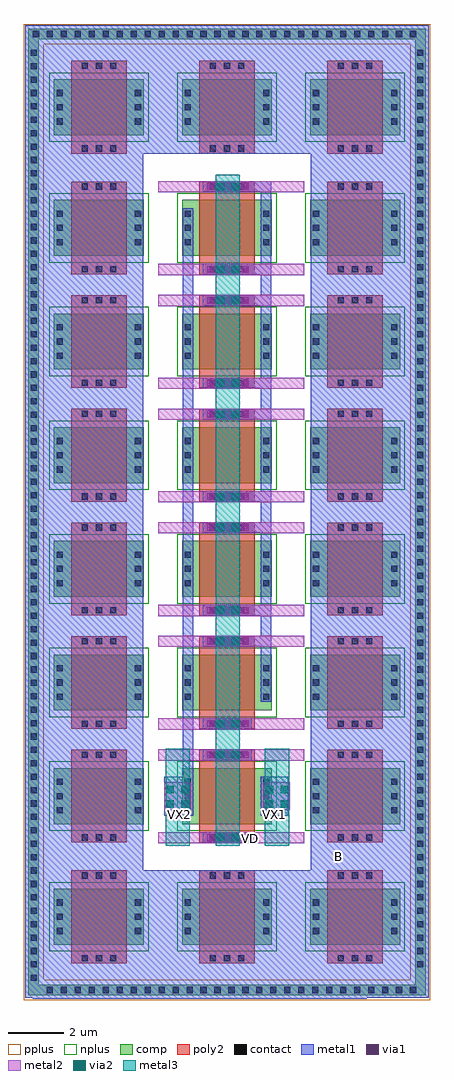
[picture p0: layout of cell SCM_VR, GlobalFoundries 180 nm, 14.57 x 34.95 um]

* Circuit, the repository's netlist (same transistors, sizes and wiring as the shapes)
** sch_path: /home/gmaranhao/Desktop/Bracolin/Voltage_Reference/symbols_vr/SCM_VR.sch
.subckt SCM_VR VD VX1 VX2 B
*.PININFO VD:B VX1:B VX2:B B:B
MN1[1] VD VD VX2 B nfet_03v3 L=2u W=2u nf=1 m=1
MN1[2] VD VD VX2 B nfet_03v3 L=2u W=2u nf=1 m=1
MN1[3] VD VD VX2 B nfet_03v3 L=2u W=2u nf=1 m=1
MN1[4] VD VD VX2 B nfet_03v3 L=2u W=2u nf=1 m=1
MN1[5] VD VD VX2 B nfet_03v3 L=2u W=2u nf=1 m=1
MN2 VX2 VD VX1 B nfet_03v3 L=2u W=2u nf=1 m=1
MN2[1] B B B B nfet_03v3 L=2u W=2u nf=1 m=1
MN2[2] B B B B nfet_03v3 L=2u W=2u nf=1 m=1
MN2[3] B B B B nfet_03v3 L=2u W=2u nf=1 m=1
MN2[4] B B B B nfet_03v3 L=2u W=2u nf=1 m=1
MN2[5] B B B B nfet_03v3 L=2u W=2u nf=1 m=1
MN2[6] B B B B nfet_03v3 L=2u W=2u nf=1 m=1
MN2[7] B B B B nfet_03v3 L=2u W=2u nf=1 m=1
MN2[8] B B B B nfet_03v3 L=2u W=2u nf=1 m=1
MN2[9] B B B B nfet_03v3 L=2u W=2u nf=1 m=1
MN2[10] B B B B nfet_03v3 L=2u W=2u nf=1 m=1
MN2[11] B B B B nfet_03v3 L=2u W=2u nf=1 m=1
MN2[12] B B B B nfet_03v3 L=2u W=2u nf=1 m=1
MN2[13] B B B B nfet_03v3 L=2u W=2u nf=1 m=1
MN2[14] B B B B nfet_03v3 L=2u W=2u nf=1 m=1
MN2[15] B B B B nfet_03v3 L=2u W=2u nf=1 m=1
MN2[16] B B B B nfet_03v3 L=2u W=2u nf=1 m=1
MN2[17] B B B B nfet_03v3 L=2u W=2u nf=1 m=1
MN2[18] B B B B nfet_03v3 L=2u W=2u nf=1 m=1
.ends
.end

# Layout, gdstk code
import gdstk
lib = gdstk.Library(unit=1e-6, precision=1e-09)
def R(c, l, rs):  # rectangles x0, y0, x1, y1
    for r in rs: c.add(gdstk.rectangle(r[:2], r[2:], *l))
def A(c, l, x, y, w, h, nx, ny, dx, dy):  # array of equal rectangles
    R(c, l, [(x+i*dx, y+j*dy, x+i*dx+w, y+j*dy+h) for i in range(nx) for j in range(ny)])
comp = (22, 0)
poly2 = (30, 0)
pplus = (31, 0)
nplus = (32, 0)
contact = (33, 0)
metal1 = (34, 0)
via1 = (35, 0)
metal2 = (36, 0)
via2 = (38, 0)
metal3 = (42, 0)

nfet = lib.new_cell('nfet')
R(nfet, comp, [(-0.42,0,0,2), (0,0,2.38,2), (2.38,0,2.8,2)])
R(nfet, poly2, [(0.19,-0.66,2.19,-0.3), (0.19,-0.3,2.19,2.3), (0.19,2.3,2.19,2.66)])
R(nfet, nplus, [(-0.59,-0.24,2.97,2.24)])
A(nfet, contact, 0.57, -0.59, 0.22, 0.22, 3, 2, 0.51, 2.96)
A(nfet, contact, -0.32, 0.38, 0.22, 0.22, 1, 3, 0, 0.51)
A(nfet, contact, 2.48, 0.38, 0.22, 0.22, 1, 3, 0, 0.51)
R(nfet, metal1, [(0.49,-0.67,1.89,-0.29), (-0.4,0.3,-0.02,1.7), (2.4,0.3,2.78,1.7), (0.49,2.29,1.89,2.67)])

scm_vr = lib.new_cell('SCM_VR')
R(scm_vr, comp, [(-5.895,-6.225,8.05,-5.845), (7.955,-6.225,8.335,28.38), (-5.895,-5.94,-5.515,28.225), (-5.895,28,8.05,28.38)])
R(scm_vr, pplus, [(-6.065,-6.395,-5.345,28.29), (-6.065,-6.395,8.505,-5.675), (7.785,-6.22,8.505,28.55), (-6.065,27.83,8.305,28.55)])
A(scm_vr, contact, -5.23, -6.145, 0.22, 0.22, 27, 1, 0.5, 0)
A(scm_vr, contact, -5.815, -5.71, 0.22, 0.22, 1, 70, 0, 0.48)
A(scm_vr, contact, 8.035, -5.23, 0.22, 0.22, 1, 69, 0, 0.48)
A(scm_vr, contact, -5.73, 28.08, 0.22, 0.22, 28, 1, 0.5, 0)
R(scm_vr, metal1, [(-5.735,-6.345,6.23,-1.745), (-5.995,-6.32,-1.775,28.5), (4.215,-6.32,8.435,28.5), (0.345,-0.765,2.11,-0.385), (-1.03,0.205,-0.115,1.605), (2.49,0.205,3.405,1.605), (-0.37,0.81,0.01,21.45), (0.345,2.195,2.11,2.575), (0.345,3.305,2.11,3.685), (2.43,4.915,2.81,22.92), (0.345,6.265,2.635,6.645), (0.345,7.37,2.63,7.75), (0.345,10.33,2.585,10.71), (0.345,11.44,2.57,11.82), (0.345,14.4,2.52,14.78), (0.345,15.51,2.56,15.89), (0.345,18.47,2.565,18.85), (0.345,19.58,2.555,19.96), (0.345,22.54,2.57,22.92), (-5.735,23.9,6.23,28.5)])
R(scm_vr, via1, [(0.5,-0.705,0.76,-0.445), (0.5,-0.705,0.76,-0.445), (0.5,-0.705,0.76,-0.445), (0.5,-0.705,0.76,-0.445), (0.5,-0.705,0.76,-0.445), (0.5,-0.705,0.76,-0.445), (0.5,-0.705,0.76,-0.445), (0.5,-0.705,0.76,-0.445), (1.12,-0.705,1.38,-0.445), (1.12,-0.705,1.38,-0.445), (1.12,-0.705,1.38,-0.445), (1.12,-0.705,1.38,-0.445), (1.12,-0.705,1.38,-0.445), (1.12,-0.705,1.38,-0.445), (1.12,-0.705,1.38,-0.445), (1.12,-0.705,1.38,-0.445), (1.74,-0.705,2,-0.445), (1.74,-0.705,2,-0.445), (1.74,-0.705,2,-0.445), (1.74,-0.705,2,-0.445), (1.74,-0.705,2,-0.445), (1.74,-0.705,2,-0.445), (1.74,-0.705,2,-0.445), (1.74,-0.705,2,-0.445), (0.5,2.255,0.76,2.515), (0.5,2.255,0.76,2.515), (0.5,2.255,0.76,2.515), (0.5,2.255,0.76,2.515), (0.5,2.255,0.76,2.515), (0.5,2.255,0.76,2.515), (0.5,2.255,0.76,2.515), (0.5,2.255,0.76,2.515), (1.12,2.255,1.38,2.515), (1.12,2.255,1.38,2.515), (1.12,2.255,1.38,2.515), (1.12,2.255,1.38,2.515), (1.12,2.255,1.38,2.515), (1.12,2.255,1.38,2.515), (1.12,2.255,1.38,2.515), (1.12,2.255,1.38,2.515), (1.74,2.255,2,2.515), (1.74,2.255,2,2.515), (1.74,2.255,2,2.515), (1.74,2.255,2,2.515), (1.74,2.255,2,2.515), (1.74,2.255,2,2.515), (1.74,2.255,2,2.515), (1.74,2.255,2,2.515), (0.5,3.365,0.76,3.625), (0.5,3.365,0.76,3.625), (0.5,3.365,0.76,3.625), (0.5,3.365,0.76,3.625), (0.5,3.365,0.76,3.625), (0.5,3.365,0.76,3.625), (0.5,3.365,0.76,3.625), (0.5,3.365,0.76,3.625), (1.12,3.365,1.38,3.625), (1.12,3.365,1.38,3.625), (1.12,3.365,1.38,3.625), (1.12,3.365,1.38,3.625), (1.12,3.365,1.38,3.625), (1.12,3.365,1.38,3.625), (1.12,3.365,1.38,3.625), (1.12,3.365,1.38,3.625), (1.74,3.365,2,3.625), (1.74,3.365,2,3.625), (1.74,3.365,2,3.625), (1.74,3.365,2,3.625), (1.74,3.365,2,3.625), (1.74,3.365,2,3.625), (1.74,3.365,2,3.625), (1.74,3.365,2,3.625), (0.5,6.325,0.76,6.585), (0.5,6.325,0.76,6.585), (0.5,6.325,0.76,6.585), (0.5,6.325,0.76,6.585), (0.5,6.325,0.76,6.585), (0.5,6.325,0.76,6.585), (0.5,6.325,0.76,6.585), (0.5,6.325,0.76,6.585), (1.12,6.325,1.38,6.585), (1.12,6.325,1.38,6.585), (1.12,6.325,1.38,6.585), (1.12,6.325,1.38,6.585), (1.12,6.325,1.38,6.585), (1.12,6.325,1.38,6.585), (1.12,6.325,1.38,6.585), (1.12,6.325,1.38,6.585), (1.74,6.325,2,6.585), (1.74,6.325,2,6.585), (1.74,6.325,2,6.585), (1.74,6.325,2,6.585), (1.74,6.325,2,6.585), (1.74,6.325,2,6.585), (1.74,6.325,2,6.585), (1.74,6.325,2,6.585), (0.5,7.43,0.76,7.69), (0.5,7.43,0.76,7.69), (0.5,7.43,0.76,7.69), (0.5,7.43,0.76,7.69), (0.5,7.43,0.76,7.69), (0.5,7.43,0.76,7.69), (0.5,7.43,0.76,7.69), (0.5,7.43,0.76,7.69), (1.12,7.43,1.38,7.69), (1.12,7.43,1.38,7.69), (1.12,7.43,1.38,7.69), (1.12,7.43,1.38,7.69), (1.12,7.43,1.38,7.69), (1.12,7.43,1.38,7.69), (1.12,7.43,1.38,7.69), (1.12,7.43,1.38,7.69), (1.74,7.43,2,7.69), (1.74,7.43,2,7.69), (1.74,7.43,2,7.69), (1.74,7.43,2,7.69), (1.74,7.43,2,7.69), (1.74,7.43,2,7.69), (1.74,7.43,2,7.69), (1.74,7.43,2,7.69), (0.5,10.39,0.76,10.65), (0.5,10.39,0.76,10.65), (0.5,10.39,0.76,10.65), (0.5,10.39,0.76,10.65), (0.5,10.39,0.76,10.65), (0.5,10.39,0.76,10.65), (0.5,10.39,0.76,10.65), (0.5,10.39,0.76,10.65), (1.12,10.39,1.38,10.65), (1.12,10.39,1.38,10.65), (1.12,10.39,1.38,10.65), (1.12,10.39,1.38,10.65), (1.12,10.39,1.38,10.65), (1.12,10.39,1.38,10.65), (1.12,10.39,1.38,10.65), (1.12,10.39,1.38,10.65), (1.74,10.39,2,10.65), (1.74,10.39,2,10.65), (1.74,10.39,2,10.65), (1.74,10.39,2,10.65), (1.74,10.39,2,10.65), (1.74,10.39,2,10.65), (1.74,10.39,2,10.65), (1.74,10.39,2,10.65), (0.5,11.5,0.76,11.76), (0.5,11.5,0.76,11.76), (0.5,11.5,0.76,11.76), (0.5,11.5,0.76,11.76), (0.5,11.5,0.76,11.76), (0.5,11.5,0.76,11.76), (0.5,11.5,0.76,11.76), (0.5,11.5,0.76,11.76), (1.12,11.5,1.38,11.76), (1.12,11.5,1.38,11.76), (1.12,11.5,1.38,11.76), (1.12,11.5,1.38,11.76), (1.12,11.5,1.38,11.76), (1.12,11.5,1.38,11.76), (1.12,11.5,1.38,11.76), (1.12,11.5,1.38,11.76), (1.74,11.5,2,11.76), (1.74,11.5,2,11.76), (1.74,11.5,2,11.76), (1.74,11.5,2,11.76), (1.74,11.5,2,11.76), (1.74,11.5,2,11.76), (1.74,11.5,2,11.76), (1.74,11.5,2,11.76), (0.5,14.46,0.76,14.72), (0.5,14.46,0.76,14.72), (0.5,14.46,0.76,14.72), (0.5,14.46,0.76,14.72), (0.5,14.46,0.76,14.72), (0.5,14.46,0.76,14.72), (0.5,14.46,0.76,14.72), (0.5,14.46,0.76,14.72), (1.12,14.46,1.38,14.72), (1.12,14.46,1.38,14.72), (1.12,14.46,1.38,14.72), (1.12,14.46,1.38,14.72), (1.12,14.46,1.38,14.72), (1.12,14.46,1.38,14.72), (1.12,14.46,1.38,14.72), (1.12,14.46,1.38,14.72), (1.74,14.46,2,14.72), (1.74,14.46,2,14.72), (1.74,14.46,2,14.72), (1.74,14.46,2,14.72), (1.74,14.46,2,14.72), (1.74,14.46,2,14.72), (1.74,14.46,2,14.72), (1.74,14.46,2,14.72), (0.5,15.57,0.76,15.83), (0.5,15.57,0.76,15.83), (0.5,15.57,0.76,15.83), (0.5,15.57,0.76,15.83), (0.5,15.57,0.76,15.83), (0.5,15.57,0.76,15.83), (0.5,15.57,0.76,15.83), (0.5,15.57,0.76,15.83), (1.12,15.57,1.38,15.83), (1.12,15.57,1.38,15.83), (1.12,15.57,1.38,15.83), (1.12,15.57,1.38,15.83), (1.12,15.57,1.38,15.83), (1.12,15.57,1.38,15.83), (1.12,15.57,1.38,15.83), (1.12,15.57,1.38,15.83), (1.74,15.57,2,15.83), (1.74,15.57,2,15.83), (1.74,15.57,2,15.83), (1.74,15.57,2,15.83), (1.74,15.57,2,15.83), (1.74,15.57,2,15.83), (1.74,15.57,2,15.83), (1.74,15.57,2,15.83), (0.5,18.53,0.76,18.79), (0.5,18.53,0.76,18.79), (0.5,18.53,0.76,18.79), (0.5,18.53,0.76,18.79), (0.5,18.53,0.76,18.79), (0.5,18.53,0.76,18.79), (0.5,18.53,0.76,18.79), (0.5,18.53,0.76,18.79), (1.12,18.53,1.38,18.79), (1.12,18.53,1.38,18.79), (1.12,18.53,1.38,18.79), (1.12,18.53,1.38,18.79), (1.12,18.53,1.38,18.79), (1.12,18.53,1.38,18.79), (1.12,18.53,1.38,18.79), (1.12,18.53,1.38,18.79), (1.74,18.53,2,18.79), (1.74,18.53,2,18.79), (1.74,18.53,2,18.79), (1.74,18.53,2,18.79), (1.74,18.53,2,18.79), (1.74,18.53,2,18.79), (1.74,18.53,2,18.79), (1.74,18.53,2,18.79), (0.5,19.64,0.76,19.9), (0.5,19.64,0.76,19.9), (0.5,19.64,0.76,19.9), (0.5,19.64,0.76,19.9), (0.5,19.64,0.76,19.9), (0.5,19.64,0.76,19.9), (0.5,19.64,0.76,19.9), (0.5,19.64,0.76,19.9), (1.12,19.64,1.38,19.9), (1.12,19.64,1.38,19.9), (1.12,19.64,1.38,19.9), (1.12,19.64,1.38,19.9), (1.12,19.64,1.38,19.9), (1.12,19.64,1.38,19.9), (1.12,19.64,1.38,19.9), (1.12,19.64,1.38,19.9), (1.74,19.64,2,19.9), (1.74,19.64,2,19.9), (1.74,19.64,2,19.9), (1.74,19.64,2,19.9), (1.74,19.64,2,19.9), (1.74,19.64,2,19.9), (1.74,19.64,2,19.9), (1.74,19.64,2,19.9), (0.5,22.6,0.76,22.86), (0.5,22.6,0.76,22.86), (0.5,22.6,0.76,22.86), (0.5,22.6,0.76,22.86), (0.5,22.6,0.76,22.86), (0.5,22.6,0.76,22.86), (0.5,22.6,0.76,22.86), (0.5,22.6,0.76,22.86), (1.12,22.6,1.38,22.86), (1.12,22.6,1.38,22.86), (1.12,22.6,1.38,22.86), (1.12,22.6,1.38,22.86), (1.12,22.6,1.38,22.86), (1.12,22.6,1.38,22.86), (1.12,22.6,1.38,22.86), (1.12,22.6,1.38,22.86), (1.74,22.6,2,22.86), (1.74,22.6,2,22.86), (1.74,22.6,2,22.86), (1.74,22.6,2,22.86), (1.74,22.6,2,22.86), (1.74,22.6,2,22.86), (1.74,22.6,2,22.86), (1.74,22.6,2,22.86)])
R(scm_vr, metal2, [(-1.235,-0.785,3.98,-0.385), (-1.03,0.405,-0.085,1.395), (2.525,0.405,3.47,1.395), (-1.235,2.175,3.98,2.575), (-1.235,3.285,3.98,3.685), (-1.235,6.245,3.98,6.645), (-1.235,7.35,3.98,7.75), (-1.235,10.31,3.98,10.71), (-1.235,11.42,3.98,11.82), (-1.235,14.38,3.98,14.78), (-1.235,15.49,3.98,15.89), (-1.235,18.45,3.98,18.85), (-1.235,19.56,3.98,19.96), (-1.235,22.52,3.98,22.92)])
R(scm_vr, via2, [(0.855,-0.7,1.115,-0.44), (1.385,-0.7,1.645,-0.44), (-0.945,0.49,-0.685,0.75), (-0.415,0.49,-0.155,0.75), (2.61,0.49,2.87,0.75), (3.14,0.49,3.4,0.75), (-0.945,1.015,-0.685,1.275), (-0.415,1.015,-0.155,1.275), (2.61,1.015,2.87,1.275), (3.14,1.015,3.4,1.275), (0.855,2.255,1.115,2.515), (1.385,2.255,1.645,2.515), (0.855,3.37,1.115,3.63), (1.385,3.37,1.645,3.63), (0.855,6.325,1.115,6.585), (1.385,6.325,1.645,6.585), (0.855,7.435,1.115,7.695), (1.385,7.435,1.645,7.695), (0.855,10.39,1.115,10.65), (1.385,10.39,1.645,10.65), (0.855,11.495,1.115,11.755), (1.385,11.495,1.645,11.755), (0.855,14.45,1.115,14.71), (1.385,14.45,1.645,14.71), (0.855,15.57,1.115,15.83), (1.385,15.57,1.645,15.83), (0.855,18.525,1.115,18.785), (1.385,18.525,1.645,18.785), (0.855,19.64,1.115,19.9), (1.385,19.64,1.645,19.9), (0.855,22.595,1.115,22.855), (1.385,22.595,1.645,22.855)])
R(scm_vr, metal3, [(-0.98,-0.875,-0.115,2.6), (0.815,-0.875,1.68,23.155), (2.575,-0.875,3.44,2.6)])
scm_vr.add(gdstk.Reference(nfet, (0.03,-0.095)))
scm_vr.add(gdstk.Reference(nfet, (0.03,3.975)))
scm_vr.add(gdstk.Reference(nfet, (0.03,8.04)))
scm_vr.add(gdstk.Reference(nfet, (0.03,16.18)))
scm_vr.add(gdstk.Reference(nfet, (0.03,12.11)))
scm_vr.add(gdstk.Reference(nfet, (4.615,-0.095)))
scm_vr.add(gdstk.Reference(nfet, (0.03,20.25)))
scm_vr.add(gdstk.Reference(nfet, (4.615,3.975)))
scm_vr.add(gdstk.Reference(nfet, (4.615,8.04)))
scm_vr.add(gdstk.Reference(nfet, (4.615,16.18)))
scm_vr.add(gdstk.Reference(nfet, (4.615,12.11)))
scm_vr.add(gdstk.Reference(nfet, (4.615,20.25)))
scm_vr.add(gdstk.Reference(nfet, (-4.555,-0.095)))
scm_vr.add(gdstk.Reference(nfet, (-4.555,3.975)))
scm_vr.add(gdstk.Reference(nfet, (-4.555,8.04)))
scm_vr.add(gdstk.Reference(nfet, (-4.555,16.18)))
scm_vr.add(gdstk.Reference(nfet, (-4.555,12.11)))
scm_vr.add(gdstk.Reference(nfet, (-4.555,20.25)))
scm_vr.add(gdstk.Reference(nfet, (0.03,-4.415)))
scm_vr.add(gdstk.Reference(nfet, (4.615,-4.415)))
scm_vr.add(gdstk.Reference(nfet, (-4.555,-4.415)))
scm_vr.add(gdstk.Reference(nfet, (0.03,24.57)))
scm_vr.add(gdstk.Reference(nfet, (4.615,24.57)))
scm_vr.add(gdstk.Reference(nfet, (-4.555,24.57)))
scm_vr.add(gdstk.Label('B', (5.215,-1.245), layer=34, texttype=10))
scm_vr.add(gdstk.Label('VD', (2.05,-0.6), layer=34, texttype=10))
scm_vr.add(gdstk.Label('VX1', (2.905,0.255), layer=34, texttype=10))
scm_vr.add(gdstk.Label('VX2', (-0.475,0.255), layer=34, texttype=10))

lib.write_gds('SCM_VR.gds')
